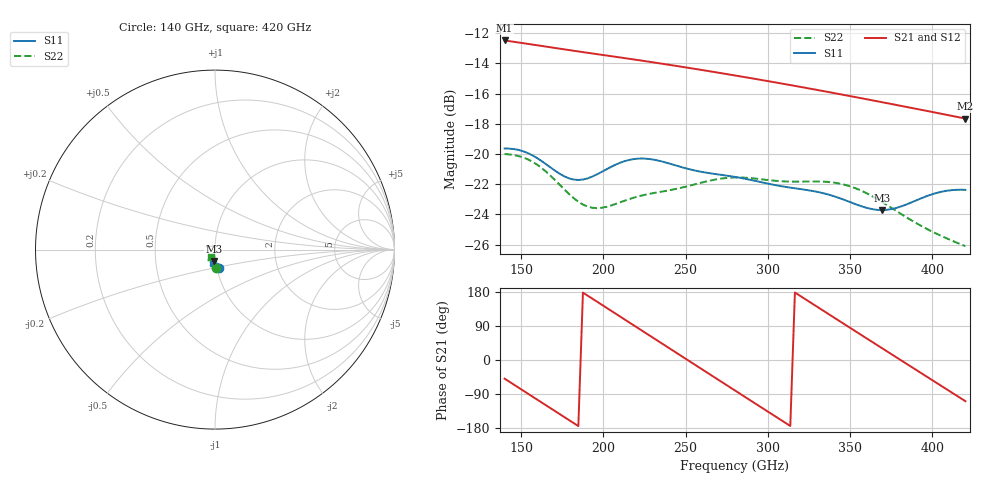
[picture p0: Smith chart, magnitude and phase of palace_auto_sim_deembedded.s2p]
! Created with skrf 1.11.0 (http://scikit-rf.org).
# GHz S DB R 50.0
!freq dBS11 angS11 dBS21 angS21 dBS12 angS12 dBS22 angS22
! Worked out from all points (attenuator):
!   101 points, 140 GHz to 420 GHz, reference 50 ohm
!   highest |S21| = -12.49 dB at 140 GHz (marker M1); lowest = -17.7 dB at 420 GHz (marker M2)
!   lowest |S11| = -23.7 dB at 369.6 GHz (marker M3), VSWR 1.14, Z = 48.9 - j6.38 ohm
!   |S11| at or under -10 dB: start of sweep to end of sweep
!   |S22| runs from -26.1 to -20.0 dB; largest |S21 - S12| = 3.5e-13
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140  -19.64 -78.0  -12.49 -49.2  -12.49 -49.2  -20.00 -86.3
151.2  -19.82 -81.0  -12.66 -80.5  -12.66 -80.5  -20.23 -89.4
162.4  -20.46 -83.8  -12.85 -111.8  -12.85 -111.8  -20.92 -93.6
176.4  -21.49 -82.4  -13.08 -150.9  -13.08 -150.9  -22.36 -95.1
187.6  -21.69 -77.8  -13.26 177.8  -13.26 177.8  -23.35 -91.1
198.8  -21.20 -75.3  -13.43 146.5  -13.43 146.5  -23.57 -85.2
212.8  -20.48 -78.0  -13.65 107.4  -13.65 107.4  -23.10 -81.6
224  -20.30 -82.7  -13.83 76.0  -13.83 76.0  -22.74 -81.8
235.2  -20.49 -87.0  -14.02 44.7  -14.02 44.7  -22.50 -82.7
254.8  -21.08 -91.0  -14.35 -10.1  -14.35 -10.1  -22.04 -85.0
268.8  -21.34 -92.7  -14.60 -49.2  -14.60 -49.2  -21.68 -88.5
280  -21.52 -94.3  -14.80 -80.5  -14.80 -80.5  -21.56 -92.3
291.2  -21.76 -95.8  -15.01 -111.7  -15.01 -111.7  -21.62 -95.9
305.2  -22.08 -97.1  -15.28 -150.7  -15.28 -150.7  -21.78 -99.4
316.4  -22.27 -97.8  -15.49 178.1  -15.49 178.1  -21.83 -101.9
327.6  -22.46 -98.8  -15.72 146.9  -15.72 146.9  -21.82 -104.9
347.2  -23.07 -100.2  -16.11 92.5  -16.11 92.5  -22.06 -112.6
369.6  -23.72 -95.7  -16.58 30.5  -16.58 30.5  -23.19 -120.6
375.2  -23.65 -93.9  -16.70 15.0  -16.70 15.0  -23.58 -121.7
386.4  -23.24 -91.7  -16.93 -16.0  -16.93 -16.0  -24.34 -122.7
400.4  -22.65 -92.4  -17.23 -54.6  -17.23 -54.6  -25.17 -122.1
420  -22.37 -96.4  -17.66 -108.7  -17.66 -108.7  -26.11 -119.7
